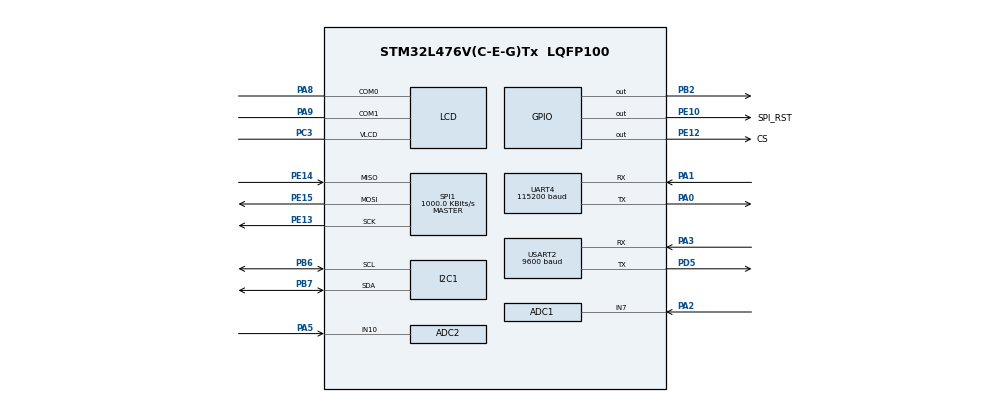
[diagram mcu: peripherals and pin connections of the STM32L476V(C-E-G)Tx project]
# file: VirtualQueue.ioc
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ADC1.Channel-1\#ChannelRegularConversion=ADC_CHANNEL_7
ADC1.NbrOfConversionFlag=1
ADC1.OffsetNumber-1\#ChannelRegularConversion=ADC_OFFSET_NONE
ADC1.Rank-1\#ChannelRegularConversion=1
ADC1.SamplingTime-1\#ChannelRegularConversion=ADC_SAMPLETIME_2CYCLES_5
ADC1.master=1
ADC2.Channel-0\#ChannelRegularConversion=ADC_CHANNEL_10
ADC2.NbrOfConversionFlag=1
ADC2.OffsetNumber-0\#ChannelRegularConversion=ADC_OFFSET_NONE
ADC2.Rank-0\#ChannelRegularConversion=1
ADC2.SamplingTime-0\#ChannelRegularConversion=ADC_SAMPLETIME_2CYCLES_5
Dma.Request0=UART4_RX
Dma.UART4_RX.0.Direction=DMA_PERIPH_TO_MEMORY
Dma.UART4_RX.0.Instance=DMA2_Channel5
Dma.UART4_RX.0.MemDataAlignment=DMA_MDATAALIGN_BYTE
Dma.UART4_RX.0.MemInc=DMA_MINC_ENABLE
Dma.UART4_RX.0.Mode=DMA_NORMAL
Dma.UART4_RX.0.PeriphDataAlignment=DMA_PDATAALIGN_BYTE
Dma.UART4_RX.0.PeriphInc=DMA_PINC_DISABLE
Dma.UART4_RX.0.Priority=DMA_PRIORITY_LOW
Mcu.Family=STM32L4
Mcu.Name=STM32L476V(C-E-G)Tx
Mcu.Package=LQFP100
NVIC.DMA2_Channel5_IRQn=true\:0\:0\:false\:false\:true\:false\:true
NVIC.PriorityGroup=NVIC_PRIORITYGROUP_4
NVIC.TIM1_TRG_COM_TIM17_IRQn=true\:0\:0\:false\:false\:true\:true\:true
NVIC.TIM1_UP_TIM16_IRQn=true\:0\:0\:false\:false\:true\:true\:true
NVIC.UART4_IRQn=true\:0\:0\:false\:false\:true\:true\:true
NVIC.USART2_IRQn=true\:0\:0\:false\:false\:true\:true\:true
PA0.Mode=Asynchronous
PA0.Signal=UART4_TX
PA1.Mode=Asynchronous
PA1.Signal=UART4_RX
PA2.Signal=ADCx_IN7
PA3.Mode=Asynchronous
PA3.Signal=USART2_RX
PA5.Signal=ADCx_IN10
PA8.Mode=1/2 Duty Cycle
PA8.Signal=LCD_COM0
PA9.Mode=1/2 Duty Cycle
PA9.Signal=LCD_COM1
PB2.Signal=GPIO_Output
PB6.Mode=I2C
PB6.Signal=I2C1_SCL
PB7.Mode=I2C
PB7.Signal=I2C1_SDA
PC3.Mode=1/2 Duty Cycle
PC3.Signal=LCD_VLCD
PD5.Mode=Asynchronous
PD5.Signal=USART2_TX
PE10.GPIO_Label=SPI_RST
PE10.Signal=GPIO_Output
PE12.GPIO_Label=CS
PE12.Signal=GPIO_Output
PE13.Mode=Full_Duplex_Master
PE13.Signal=SPI1_SCK
PE14.Mode=Full_Duplex_Master
PE14.Signal=SPI1_MISO
PE15.Mode=Full_Duplex_Master
PE15.Signal=SPI1_MOSI
ProjectManager.HeapSize=0x200
ProjectManager.StackSize=0x400
ProjectManager.TargetToolchain=STM32CubeIDE
RCC.ADCFreq_Value=32000000
RCC.HSE_VALUE=8000000
RCC.HSI_VALUE=16000000
RCC.LSE_VALUE=32768
RCC.MSI_VALUE=4000000
RCC.PLLSAI1N=16
RCC.USBFreq_Value=32000000
RCC.VCOOutputFreq_Value=32000000
SH.ADCx_IN10.0=ADC2_IN10,IN10-Single-Ended
SH.ADCx_IN7.0=ADC1_IN7,IN7-Single-Ended
SPI1.BaudRatePrescaler=SPI_BAUDRATEPRESCALER_4
SPI1.CalculateBaudRate=1000.0 KBits/s
SPI1.DataSize=SPI_DATASIZE_8BIT
SPI1.Direction=SPI_DIRECTION_2LINES
SPI1.Mode=SPI_MODE_MASTER
SPI1.NSSPMode=SPI_NSS_PULSE_DISABLE
SPI1.VirtualType=VM_MASTER
TIM16.Period=999
TIM16.Prescaler=7999
TIM17.Period=4999
TIM17.Prescaler=7999
UART4.BaudRate=115200
USART2.BaudRate=9600
USART2.VirtualMode-Asynchronous=VM_ASYNC
VP_TIM16_VS_ClockSourceINT.Mode=Enable_Timer
VP_TIM17_VS_ClockSourceINT.Mode=Enable_Timer
board=custom

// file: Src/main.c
/* USER CODE BEGIN Header */
/**
  ******************************************************************************
  * @file           : main.c
  * @brief          : Main program body
  ******************************************************************************
  * @attention
  *
  * <h2><center>&copy; Copyright (c) 2021 STMicroelectronics.
  * All rights reserved.</center></h2>
  *
  * This software component is licensed by ST under BSD 3-Clause license,
  * the "License"; You may not use this file except in compliance with the
  * License. You may obtain a copy of the License at:
  *                        opensource.org/licenses/BSD-3-Clause
  *
  ******************************************************************************
  This is the "clean" version being built towards the final product. The regular
  main.c is more of a testing/unclean version.
  */
/* USER CODE END Header */

#include "main.h"

/* USER CODE BEGIN Includes */
#include <stdio.h>
//#include "retarget.h"
#include "utility.h"
#include "wifi_module.h"
#include "qr_scanner.h"
#include "motion.h"
#include "mytype.h"
#include "thermopile.h"
/* USER CODE END Includes */

ADC_HandleTypeDef hadc1;
ADC_HandleTypeDef hadc2;

I2C_HandleTypeDef hi2c1;

LCD_HandleTypeDef hlcd;

SPI_HandleTypeDef hspi1;

TIM_HandleTypeDef htim16;
TIM_HandleTypeDef htim17;

UART_HandleTypeDef huart4;
UART_HandleTypeDef huart2;
DMA_HandleTypeDef hdma_uart4_rx;

void SystemClock_Config(void);
static void MX_GPIO_Init(void);
static void MX_DMA_Init(void);
static void MX_LCD_Init(void);
static void MX_USART2_UART_Init(void);
static void MX_UART4_Init(void);
static void MX_SPI1_Init(void);
static void MX_TIM16_Init(void);
static void MX_ADC1_Init(void);
static void MX_ADC2_Init(void);
static void MX_I2C1_Init(void);
static void MX_TIM17_Init(void);

int main(void)
{

  /* MCU Configuration--------------------------------------------------------*/

  /* Reset of all peripherals, Initializes the Flash interface and the Systick. */
  HAL_Init();

  /* USER CODE BEGIN Init */
  BSP_LCD_GLASS_Init();

  /* USER CODE END Init */

  /* Configure the system clock */
  SystemClock_Config();

  /* Initialize all configured peripherals */
  MX_GPIO_Init();
  MX_DMA_Init();
  MX_LCD_Init();
  MX_USART2_UART_Init();
  MX_UART4_Init();
  MX_SPI1_Init();
  MX_TIM16_Init();
  MX_ADC1_Init();
  MX_ADC2_Init();
  MX_I2C1_Init();
  MX_TIM17_Init();
  /* USER CODE BEGIN 2 */
  //RetargetInit(&huart2);
  printf("\r\nStarting\r\n");

  // INITS
  queue_length = 0; // init these first so the display works
  store_capacity = 0;
  num_in_store = 0;

  qr_scanner_init(&huart2, 0); // note - THIS SHOULD BE CALLED BEFORE esp8266_init() if using QR scanning for WiFi setup

  bool esp_ok = esp8266_init(&huart4, &hspi1, 1, 0);
  if (esp_ok == false) {
	  //main_display_info(&hspi1, num_in_store, queue_length, store_capacity, "Wifi doesn't set up properly", NULL, NULL, NULL);
	  return 1;
  }

  //main_display_init(&hspi1);
  main_display_info(&hspi1, num_in_store, queue_length, store_capacity, "Starting up...", "Please wait", NULL, NULL);

  qr_scan_pending = 0;
  HAL_UART_Receive_IT(qr_huart, qr_buf, QR_SIZE); // note - CALL THIS HERE to restart QR scanning after WiFi setup via QR

  thermopile_init(&hadc1, &hadc2);

  bool motion_sensor_ok = initialize_motion_sensor(&hi2c1);
  if (motion_sensor_ok != true) {
	  main_display_info(&hspi1, num_in_store, queue_length, store_capacity, "ERROR: MOTION SENSOR SETUP FAIL", NULL, NULL, NULL);
	  return 1;
  }

  // MOTION SENSOR BUFFER VARIABLES
  int pir_size = 50; // size of buffer
  int pir_samples[pir_size]; // buffer
  int threshold = 5; // number of readings in buffer to trigger motion
  int left = 0; // number of lefts
  int right = 0; // number of rights
  int nothing = pir_size; // number of no motions
  bool send_enable = false; // flag to prevent constantly sending when threshold met
  int sample_i = 0; // sample index
  for(; sample_i < pir_size; ++sample_i) {
	  pir_samples[sample_i] = 0;
  }
  sample_i = 0;

  printf("INIT DONE\r\n");
  main_display_info(&hspi1, num_in_store, queue_length, store_capacity, "Setup complete!", NULL, NULL, NULL);
  //get_status(); // get initial queue status for monitor
  HAL_TIM_Base_Start_IT(&htim16);
  HAL_TIM_Base_Start_IT(&htim17);

  int prevent_strobe = 0;
  /* USER CODE END 2 */

  /* Infinite loop */
  /* USER CODE BEGIN WHILE */
  while (1)
  {

    // QR HANDLING
    // if a qr scan has OCCURRED, handle
	if (qr_scan_pending == 1) {
		printf("BEGIN SEND SCAN\r\n");
		qr_scan_received();
	}

    // MOTION SENSOR HANDLING
	if (loop_motion_sensor(&hi2c1) == true) {
		uint8_t movement = motion_sensor_get_moment();

        // decrement count of motion type that is being overwritten
		if (pir_samples[sample_i] == 1) {
			--right;
		} else if (pir_samples[sample_i] == -1) {
			--left;
		} else {
			--nothing;
		}

        // increase appropriate motion type count
		if (movement & MOVEMENT_FROM_2_TO_4)
	    {
		  // RIGHT
	      pir_samples[sample_i] = 1;
	      ++right;
	    }
	    else if(movement & MOVEMENT_FROM_4_TO_2)
	    {
	      // LEFT
	      pir_samples[sample_i] = -1;
	      ++left;
	    } else {
	      pir_samples[sample_i] = 0;
	      ++nothing;
	    }

		if (sample_i % 10 == 0) {
			printf("left: %d    right: %d    nothing: %d\r\n", left, right, nothing);
			if (nothing != pir_size) {
				int i;
				for (i = 0; i < pir_size; ++i) {
					printf("%d ", pir_samples[i]);
				}
				printf("\r\n");
			}
		}

        // increment buffer index
		sample_i++;
		if (sample_i >= pir_size) {
			sample_i = 0;
		}

        // if motion type has exceeded threshold and able to send,
        // send that type and disable sending
		if (left > threshold && send_enable) {
			printf("SEND LEFT\r\n");
			if (valid_entries > 0) {
				send_entry();
				--valid_entries;
				main_display_info(&hspi1, num_in_store, queue_length, store_capacity, "Entry Detected. Welcome!", "Please wait...", NULL, NULL);
			} else {
				send_unauthorizedEntry();
				main_display_info(&hspi1, num_in_store, queue_length, store_capacity, "WARNING:", "UNAUTHORIZED ENTRY", NULL, NULL);
			}
			send_enable = false;
		} else if (right > threshold && send_enable) {
			printf("SEND RIGHT\r\n");
			send_exit();
			send_enable = false;
			main_display_info(&hspi1, num_in_store, queue_length, store_capacity, "Exit Detected. Thanks!", "Please wait...", NULL, NULL);
		} else if (right < threshold && left < threshold) {
            // if both motion types below threshold, enable sending
			if (!send_enable) {
				printf("SEND ENABLE\r\n");
				send_enable = true;
				main_display_info(&hspi1, num_in_store, queue_length, store_capacity, "Welcome to the ABC Store!", NULL, NULL, NULL);
			}
		}
	}

    // WIFI HANDLING
    // if have a response to handle
	if (message_pending_handling == 1) {
		handle_message_response();
	}
    // if messages pending, get ok and then send
	if (message_queue_head != NULL) {
		if (ready_for_next_message == 1) {
			tcp_connect();
		} else if (good_to_get_ok == 1) {
			get_ok_to_send();
		} else if (good_for_send == 1) {
			send_message();
		}
	}

	// TEMPERATURE
	if (people_checking_in > 0) {
		printf("CHECKING IN\r\n");
		if (prevent_strobe == 0) {
			main_display_info(&hspi1, num_in_store, queue_length, store_capacity, "Welcome,", checking_in_name, "Place your forehead near the sensor", "at the top of the kiosk");
			HAL_Delay(3000);
			prevent_strobe = 1;
		}

		//stores temperature values
		int temp = getTemp();
		char temp_str[14];
		sprintf(temp_str, "%d degrees C", temp);

		int tsen = getTsen();
		int rsen = getR();
		int vol = getV();

		if (temp > TEMP_MAX) { // fever
			printf("TEMPERATURE TOO HIGH\r\n");
			main_display_info(&hspi1, num_in_store, queue_length, store_capacity, temp_str, "TEMPERATURE IS TOO HIGH", "SEEK STAFF ASSISTANCE", NULL);
			send_tempError(temp);
			people_checking_in = 0;
			prevent_strobe = 0;
		} else if (temp >= TEMP_MIN){ // in bounds
			printf("TEMPERATURE OK PLEASE ENTER\r\n");
			main_display_info(&hspi1, num_in_store, queue_length, store_capacity, temp_str, "Temperature check ok!", "Enter when ready", NULL);
			HAL_Delay(1000);
			++valid_entries;
			--people_checking_in;
			prevent_strobe = 0;
		}
		if (people_checking_in == 0) {
			memset(checking_in_name, 0, JSON_ITEM_MAX_SIZE);
			send_doneCheckingIn();
			prevent_strobe = 0;
		}
	}

	/*
	if (got_unexpected == 1) {
		int z;
		for (z = 0; z < 500; ++z) {
		  printf("%d ", unexpected_return[z]);
		}
		got_unexpected = 0;
	}
	*/

    /* USER CODE END WHILE */

  }
}

void SystemClock_Config(void)
{
  RCC_OscInitTypeDef RCC_OscInitStruct = {0};
  RCC_ClkInitTypeDef RCC_ClkInitStruct = {0};
  RCC_PeriphCLKInitTypeDef PeriphClkInit = {0};

  /** Initializes the CPU, AHB and APB busses clocks
  */
  RCC_OscInitStruct.OscillatorType = RCC_OSCILLATORTYPE_LSI|RCC_OSCILLATORTYPE_MSI;
  RCC_OscInitStruct.LSIState = RCC_LSI_ON;
  RCC_OscInitStruct.MSIState = RCC_MSI_ON;
  RCC_OscInitStruct.MSICalibrationValue = 0;
  RCC_OscInitStruct.MSIClockRange = RCC_MSIRANGE_6;
  RCC_OscInitStruct.PLL.PLLState = RCC_PLL_NONE;
  if (HAL_RCC_OscConfig(&RCC_OscInitStruct) != HAL_OK)
  {
    Error_Handler();
  }
  /** Initializes the CPU, AHB and APB busses clocks
  */
  RCC_ClkInitStruct.ClockType = RCC_CLOCKTYPE_HCLK|RCC_CLOCKTYPE_SYSCLK
                              |RCC_CLOCKTYPE_PCLK1|RCC_CLOCKTYPE_PCLK2;
  RCC_ClkInitStruct.SYSCLKSource = RCC_SYSCLKSOURCE_MSI;
  RCC_ClkInitStruct.AHBCLKDivider = RCC_SYSCLK_DIV1;
  RCC_ClkInitStruct.APB1CLKDivider = RCC_HCLK_DIV1;
  RCC_ClkInitStruct.APB2CLKDivider = RCC_HCLK_DIV1;

  if (HAL_RCC_ClockConfig(&RCC_ClkInitStruct, FLASH_LATENCY_0) != HAL_OK)
  {
    Error_Handler();
  }
  PeriphClkInit.PeriphClockSelection = RCC_PERIPHCLK_RTC|RCC_PERIPHCLK_USART2
                              |RCC_PERIPHCLK_UART4|RCC_PERIPHCLK_I2C1
                              |RCC_PERIPHCLK_ADC;
  PeriphClkInit.Usart2ClockSelection = RCC_USART2CLKSOURCE_PCLK1;
  PeriphClkInit.Uart4ClockSelection = RCC_UART4CLKSOURCE_PCLK1;
  PeriphClkInit.I2c1ClockSelection = RCC_I2C1CLKSOURCE_PCLK1;
  PeriphClkInit.AdcClockSelection = RCC_ADCCLKSOURCE_PLLSAI1;
  PeriphClkInit.RTCClockSelection = RCC_RTCCLKSOURCE_LSI;
  PeriphClkInit.PLLSAI1.PLLSAI1Source = RCC_PLLSOURCE_MSI;
  PeriphClkInit.PLLSAI1.PLLSAI1M = 1;
  PeriphClkInit.PLLSAI1.PLLSAI1N = 16;
  PeriphClkInit.PLLSAI1.PLLSAI1P = RCC_PLLP_DIV7;
  PeriphClkInit.PLLSAI1.PLLSAI1Q = RCC_PLLQ_DIV2;
  PeriphClkInit.PLLSAI1.PLLSAI1R = RCC_PLLR_DIV2;
  PeriphClkInit.PLLSAI1.PLLSAI1ClockOut = RCC_PLLSAI1_ADC1CLK;
  if (HAL_RCCEx_PeriphCLKConfig(&PeriphClkInit) != HAL_OK)
  {
    Error_Handler();
  }
  /** Configure the main internal regulator output voltage
  */
  if (HAL_PWREx_ControlVoltageScaling(PWR_REGULATOR_VOLTAGE_SCALE1) != HAL_OK)
  {
    Error_Handler();
  }
}

static void MX_ADC1_Init(void)
{

  ADC_MultiModeTypeDef multimode = {0};
  ADC_ChannelConfTypeDef sConfig = {0};

  /** Common config
  */
  hadc1.Instance = ADC1;
  hadc1.Init.ClockPrescaler = ADC_CLOCK_ASYNC_DIV1;
  hadc1.Init.Resolution = ADC_RESOLUTION_12B;
  hadc1.Init.DataAlign = ADC_DATAALIGN_RIGHT;
  hadc1.Init.ScanConvMode = ADC_SCAN_DISABLE;
  hadc1.Init.EOCSelection = ADC_EOC_SINGLE_CONV;
  hadc1.Init.LowPowerAutoWait = DISABLE;
  hadc1.Init.ContinuousConvMode = DISABLE;
  hadc1.Init.NbrOfConversion = 1;
  hadc1.Init.DiscontinuousConvMode = DISABLE;
  hadc1.Init.ExternalTrigConv = ADC_SOFTWARE_START;
  hadc1.Init.ExternalTrigConvEdge = ADC_EXTERNALTRIGCONVEDGE_NONE;
  hadc1.Init.DMAContinuousRequests = DISABLE;
  hadc1.Init.Overrun = ADC_OVR_DATA_PRESERVED;
  hadc1.Init.OversamplingMode = DISABLE;
  if (HAL_ADC_Init(&hadc1) != HAL_OK)
  {
    Error_Handler();
  }
  /** Configure the ADC multi-mode
  */
  multimode.Mode = ADC_MODE_INDEPENDENT;
  if (HAL_ADCEx_MultiModeConfigChannel(&hadc1, &multimode) != HAL_OK)
  {
    Error_Handler();
  }
  /** Configure Regular Channel
  */
  sConfig.Channel = ADC_CHANNEL_7;
  sConfig.Rank = ADC_REGULAR_RANK_1;
  sConfig.SamplingTime = ADC_SAMPLETIME_2CYCLES_5;
  sConfig.SingleDiff = ADC_SINGLE_ENDED;
  sConfig.OffsetNumber = ADC_OFFSET_NONE;
  sConfig.Offset = 0;
  if (HAL_ADC_ConfigChannel(&hadc1, &sConfig) != HAL_OK)
  {
    Error_Handler();
  }

}

static void MX_ADC2_Init(void)
{

  ADC_ChannelConfTypeDef sConfig = {0};

  /** Common config
  */
  hadc2.Instance = ADC2;
  hadc2.Init.ClockPrescaler = ADC_CLOCK_ASYNC_DIV1;
  hadc2.Init.Resolution = ADC_RESOLUTION_12B;
  hadc2.Init.DataAlign = ADC_DATAALIGN_RIGHT;
  hadc2.Init.ScanConvMode = ADC_SCAN_DISABLE;
  hadc2.Init.EOCSelection = ADC_EOC_SINGLE_CONV;
  hadc2.Init.LowPowerAutoWait = DISABLE;
  hadc2.Init.ContinuousConvMode = DISABLE;
  hadc2.Init.NbrOfConversion = 1;
  hadc2.Init.DiscontinuousConvMode = DISABLE;
  hadc2.Init.ExternalTrigConv = ADC_SOFTWARE_START;
  hadc2.Init.ExternalTrigConvEdge = ADC_EXTERNALTRIGCONVEDGE_NONE;
  hadc2.Init.DMAContinuousRequests = DISABLE;
  hadc2.Init.Overrun = ADC_OVR_DATA_PRESERVED;
  hadc2.Init.OversamplingMode = DISABLE;
  if (HAL_ADC_Init(&hadc2) != HAL_OK)
  {
    Error_Handler();
  }
  /** Configure Regular Channel
  */
  sConfig.Channel = ADC_CHANNEL_10;
  sConfig.Rank = ADC_REGULAR_RANK_1;
  sConfig.SamplingTime = ADC_SAMPLETIME_2CYCLES_5;
  sConfig.SingleDiff = ADC_SINGLE_ENDED;
  sConfig.OffsetNumber = ADC_OFFSET_NONE;
  sConfig.Offset = 0;
  if (HAL_ADC_ConfigChannel(&hadc2, &sConfig) != HAL_OK)
  {
    Error_Handler();
  }

}

static void MX_I2C1_Init(void)
{

  hi2c1.Instance = I2C1;
  hi2c1.Init.Timing = 0x00000E14;
  hi2c1.Init.OwnAddress1 = 0;
  hi2c1.Init.AddressingMode = I2C_ADDRESSINGMODE_7BIT;
  hi2c1.Init.DualAddressMode = I2C_DUALADDRESS_DISABLE;
  hi2c1.Init.OwnAddress2 = 0;
  hi2c1.Init.OwnAddress2Masks = I2C_OA2_NOMASK;
  hi2c1.Init.GeneralCallMode = I2C_GENERALCALL_DISABLE;
  hi2c1.Init.NoStretchMode = I2C_NOSTRETCH_DISABLE;
  if (HAL_I2C_Init(&hi2c1) != HAL_OK)
  {
    Error_Handler();
  }
  /** Configure Analogue filter
  */
  if (HAL_I2CEx_ConfigAnalogFilter(&hi2c1, I2C_ANALOGFILTER_ENABLE) != HAL_OK)
  {
    Error_Handler();
  }
  /** Configure Digital filter
  */
  if (HAL_I2CEx_ConfigDigitalFilter(&hi2c1, 0) != HAL_OK)
  {
    Error_Handler();
  }

}

static void MX_LCD_Init(void)
{

  hlcd.Instance = LCD;
  hlcd.Init.Prescaler = LCD_PRESCALER_1;
  hlcd.Init.Divider = LCD_DIVIDER_16;
  hlcd.Init.Duty = LCD_DUTY_1_2;
  hlcd.Init.Bias = LCD_BIAS_1_4;
  hlcd.Init.VoltageSource = LCD_VOLTAGESOURCE_INTERNAL;
  hlcd.Init.Contrast = LCD_CONTRASTLEVEL_0;
  hlcd.Init.DeadTime = LCD_DEADTIME_0;
  hlcd.Init.PulseOnDuration = LCD_PULSEONDURATION_0;
  hlcd.Init.MuxSegment = LCD_MUXSEGMENT_DISABLE;
  hlcd.Init.BlinkMode = LCD_BLINKMODE_OFF;
  hlcd.Init.BlinkFrequency = LCD_BLINKFREQUENCY_DIV8;
  hlcd.Init.HighDrive = LCD_HIGHDRIVE_DISABLE;
  if (HAL_LCD_Init(&hlcd) != HAL_OK)
  {
    Error_Handler();
  }

}

static void MX_SPI1_Init(void)
{

  /* SPI1 parameter configuration*/
  hspi1.Instance = SPI1;
  hspi1.Init.Mode = SPI_MODE_MASTER;
  hspi1.Init.Direction = SPI_DIRECTION_2LINES;
  hspi1.Init.DataSize = SPI_DATASIZE_8BIT;
  hspi1.Init.CLKPolarity = SPI_POLARITY_LOW;
  hspi1.Init.CLKPhase = SPI_PHASE_1EDGE;
  hspi1.Init.NSS = SPI_NSS_SOFT;
  hspi1.Init.BaudRatePrescaler = SPI_BAUDRATEPRESCALER_4;
  hspi1.Init.FirstBit = SPI_FIRSTBIT_MSB;
  hspi1.Init.TIMode = SPI_TIMODE_DISABLE;
  hspi1.Init.CRCCalculation = SPI_CRCCALCULATION_DISABLE;
  hspi1.Init.CRCPolynomial = 7;
  hspi1.Init.CRCLength = SPI_CRC_LENGTH_DATASIZE;
  hspi1.Init.NSSPMode = SPI_NSS_PULSE_DISABLE;
  if (HAL_SPI_Init(&hspi1) != HAL_OK)
  {
    Error_Handler();
  }

}

static void MX_TIM16_Init(void)
{

  htim16.Instance = TIM16;
  htim16.Init.Prescaler = 7999;
  htim16.Init.CounterMode = TIM_COUNTERMODE_UP;
  htim16.Init.Period = 999;
  htim16.Init.ClockDivision = TIM_CLOCKDIVISION_DIV1;
  htim16.Init.RepetitionCounter = 0;
  htim16.Init.AutoReloadPreload = TIM_AUTORELOAD_PRELOAD_DISABLE;
  if (HAL_TIM_Base_Init(&htim16) != HAL_OK)
  {
    Error_Handler();
  }

}

static void MX_TIM17_Init(void)
{

  htim17.Instance = TIM17;
  htim17.Init.Prescaler = 7999;
  htim17.Init.CounterMode = TIM_COUNTERMODE_UP;
  htim17.Init.Period = 4999;
  htim17.Init.ClockDivision = TIM_CLOCKDIVISION_DIV1;
  htim17.Init.RepetitionCounter = 0;
  htim17.Init.AutoReloadPreload = TIM_AUTORELOAD_PRELOAD_DISABLE;
  if (HAL_TIM_Base_Init(&htim17) != HAL_OK)
  {
    Error_Handler();
  }

}

static void MX_UART4_Init(void)
{

  huart4.Instance = UART4;
  huart4.Init.BaudRate = 115200;
  huart4.Init.WordLength = UART_WORDLENGTH_8B;
  huart4.Init.StopBits = UART_STOPBITS_1;
  huart4.Init.Parity = UART_PARITY_NONE;
  huart4.Init.Mode = UART_MODE_TX_RX;
  huart4.Init.HwFlowCtl = UART_HWCONTROL_NONE;
  huart4.Init.OverSampling = UART_OVERSAMPLING_16;
  huart4.Init.OneBitSampling = UART_ONE_BIT_SAMPLE_DISABLE;
  huart4.AdvancedInit.AdvFeatureInit = UART_ADVFEATURE_NO_INIT;
  if (HAL_UART_Init(&huart4) != HAL_OK)
  {
    Error_Handler();
  }

}

static void MX_USART2_UART_Init(void)
{

  huart2.Instance = USART2;
  huart2.Init.BaudRate = 9600;
  huart2.Init.WordLength = UART_WORDLENGTH_8B;
  huart2.Init.StopBits = UART_STOPBITS_1;
  huart2.Init.Parity = UART_PARITY_NONE;
  huart2.Init.Mode = UART_MODE_TX_RX;
  huart2.Init.HwFlowCtl = UART_HWCONTROL_NONE;
  huart2.Init.OverSampling = UART_OVERSAMPLING_16;
  huart2.Init.OneBitSampling = UART_ONE_BIT_SAMPLE_DISABLE;
  huart2.AdvancedInit.AdvFeatureInit = UART_ADVFEATURE_NO_INIT;
  if (HAL_UART_Init(&huart2) != HAL_OK)
  {
    Error_Handler();
  }

}

static void MX_DMA_Init(void)
{

  /* DMA controller clock enable */
  __HAL_RCC_DMA2_CLK_ENABLE();

  /* DMA interrupt init */
  /* DMA2_Channel5_IRQn interrupt configuration */
  HAL_NVIC_SetPriority(DMA2_Channel5_IRQn, 0, 0);
  HAL_NVIC_EnableIRQ(DMA2_Channel5_IRQn);

}

static void MX_GPIO_Init(void)
{
  GPIO_InitTypeDef GPIO_InitStruct = {0};

  /* GPIO Ports Clock Enable */
  __HAL_RCC_GPIOC_CLK_ENABLE();
  __HAL_RCC_GPIOA_CLK_ENABLE();
  __HAL_RCC_GPIOB_CLK_ENABLE();
  __HAL_RCC_GPIOE_CLK_ENABLE();
  __HAL_RCC_GPIOD_CLK_ENABLE();

  /*Configure GPIO pin Output Level */
  HAL_GPIO_WritePin(GPIOB, GPIO_PIN_2, GPIO_PIN_RESET);

  /*Configure GPIO pin Output Level */
  HAL_GPIO_WritePin(GPIOE, SPI_RST_Pin|CS_Pin, GPIO_PIN_RESET);

  /*Configure GPIO pin : PB2 */
  GPIO_InitStruct.Pin = GPIO_PIN_2;
  GPIO_InitStruct.Mode = GPIO_MODE_OUTPUT_PP;
  GPIO_InitStruct.Pull = GPIO_NOPULL;
  GPIO_InitStruct.Speed = GPIO_SPEED_FREQ_LOW;
  HAL_GPIO_Init(GPIOB, &GPIO_InitStruct);

  /*Configure GPIO pins : SPI_RST_Pin CS_Pin */
  GPIO_InitStruct.Pin = SPI_RST_Pin|CS_Pin;
  GPIO_InitStruct.Mode = GPIO_MODE_OUTPUT_PP;
  GPIO_InitStruct.Pull = GPIO_NOPULL;
  GPIO_InitStruct.Speed = GPIO_SPEED_FREQ_LOW;
  HAL_GPIO_Init(GPIOE, &GPIO_InitStruct);

}

/* USER CODE BEGIN 4 */

// Only used for QR callback.
// If triggered, a QR code has been scanned, set flag.
void HAL_UART_RxCpltCallback(UART_HandleTypeDef *huart)
{
	printf("RX CPLT CALLBACK\r\n");
	if (huart == qr_huart) {
		printf("QR INT\r\n");
		qr_scan_pending = 1;
	}
}

// Called when timer is up.
void HAL_TIM_PeriodElapsedCallback(TIM_HandleTypeDef *htim)
{
    // if is display status timer, get status
	if (htim == &htim16 ) {
		printf("GETTING STATUS\r\n");
		get_status();
	} else if (htim == &htim17) {
		if (message_queue_head != NULL) {
			if (advanced_wifi_state == 0) {
				advanced_wifi_state = 1;
			} else {
				abort_message();
			}
		}
	}
}

/* USER CODE END 4 */

void Error_Handler(void)
{
}

#ifdef  USE_FULL_ASSERT
/**
  * @brief  Reports the name of the source file and the source line number
  *         where the assert_param error has occurred.
  * @param  file: pointer to the source file name
  * @param  line: assert_param error line source number
  * @retval None
  */
void assert_failed(char *file, uint32_t line)
{
  /* USER CODE BEGIN 6 */
  /* User can add his own implementation to report the file name and line number,
     tex: //printf("Wrong parameters value: file %s on line %d\r\n", file, line) */
  /* USER CODE END 6 */
}
#endif /* USE_FULL_ASSERT */

/************************ (C) COPYRIGHT STMicroelectronics *****END OF FILE****/
